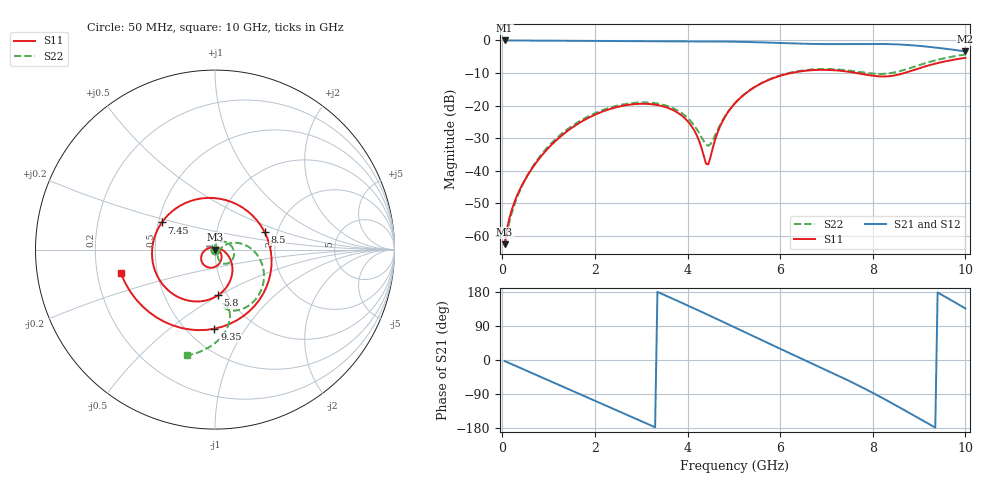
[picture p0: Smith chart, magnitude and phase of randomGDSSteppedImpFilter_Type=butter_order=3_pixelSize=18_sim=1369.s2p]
! freq	dB(S11)	phase(S11)	dB(S12)	phase(S12)
!  dB(S21)	phase(S21)	dB(S22)	phase(S22)
!S-par simulation data
#  GHz  S  DB  R 50
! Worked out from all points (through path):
!   200 points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, 50 MHz to 10 GHz, reference 50 ohm
!   highest |S21| = -0.01 dB at 50 MHz (marker M1); lowest = -3.4 dB at 10 GHz (marker M2)
!   group delay of S21, straight-line fit = 160 ps
!   lowest |S11| = -62.6 dB at 50 MHz (marker M3), VSWR 1.00, Z = 50.1 + j0.0498 ohm
!   |S11| at or under -10 dB: start of sweep to 6.235 GHz; 7.648 GHz to 8.682 GHz (1.034 GHz wide, 12.7 % of centre)
!   |S22| runs from -63.1 to -4.3 dB; largest |S21 - S12| = 0
!   S11 on the Smith chart (normalised r, x): 50 MHz: 1.00, +0.00; 5.8 GHz: 0.90, -0.49; 7.45 GHz: 0.52, +0.18; 8.5 GHz: 1.71, +0.37; 9.35 GHz: 0.67, -0.73; 10 GHz: 0.30, -0.11
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0.05  -62.56 41.9  -0.01 -2.7  -0.01 -2.7  -63.14 49.0
0.25  -50.07 45.8  -0.02 -13.4  -0.02 -13.4  -50.92 92.6
0.65  -39.13 11.4  -0.05 -34.8  -0.05 -34.8  -38.86 98.8
1.2  -30.20 -23.4  -0.08 -64.3  -0.08 -64.3  -29.64 76.3
1.75  -24.60 -52.0  -0.12 -93.8  -0.12 -93.8  -24.11 45.9
2.65  -19.93 -97.2  -0.21 -142.3  -0.21 -142.3  -19.53 -5.4
3.4  -19.97 -137.0  -0.27 177.1  -0.27 177.1  -19.50 -45.4
4.05  -25.57 -178.5  -0.29 141.2  -0.29 141.2  -24.47 -69.9
4.45  -38.02 66.3  -0.30 118.7  -0.30 118.7  -32.32 -24.2
4.7  -26.46 -7.7  -0.33 104.4  -0.33 104.4  -26.02 21.7
5.05  -18.90 -37.0  -0.39 84.3  -0.39 84.3  -18.84 19.5
5.8  -11.85 -86.5  -0.69 41.1  -0.69 41.1  -11.74 -12.9
6.25  -9.95 -115.9  -0.91 15.5  -0.91 15.5  -9.79 -33.3
6.7  -9.11 -146.7  -1.07 -9.8  -1.07 -9.8  -8.89 -52.2
7.45  -9.56 152.9  -1.12 -52.8  -1.12 -52.8  -9.18 -76.4
7.95  -10.73 98.0  -1.07 -83.6  -1.07 -83.6  -10.10 -82.1
8.35  -10.98 41.9  -1.13 -109.7  -1.13 -109.7  -10.10 -79.0
8.5  -10.66 19.7  -1.20 -119.8  -1.20 -119.8  -9.72 -77.5
8.9  -9.02 -35.9  -1.54 -147.3  -1.54 -147.3  -8.03 -78.0
9.35  -7.11 -90.4  -2.18 -178.3  -2.18 -178.3  -6.12 -86.6
9.65  -6.18 -124.8  -2.69 160.9  -2.69 160.9  -5.16 -94.6
10  -5.33 -165.9  -3.37 136.0  -3.37 136.0  -4.29 -104.9
